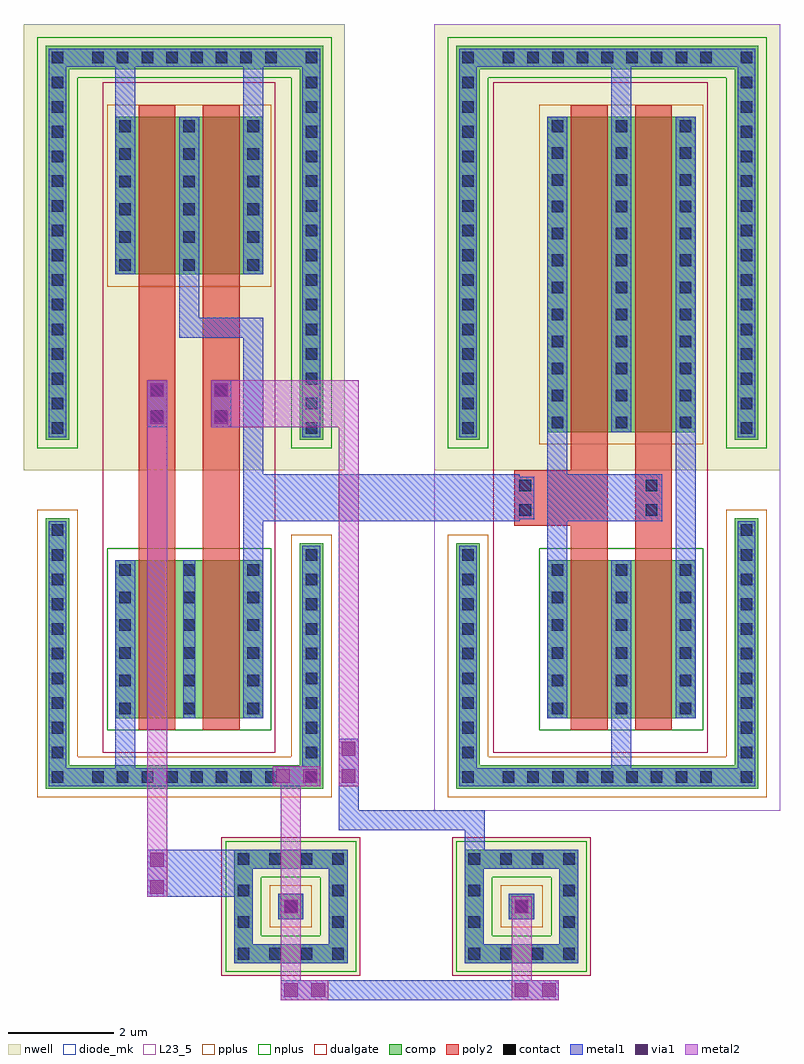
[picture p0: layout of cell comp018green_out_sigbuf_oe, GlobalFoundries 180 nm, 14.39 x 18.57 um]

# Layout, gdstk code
from math import pi, radians
import gdstk
lib = gdstk.Library(unit=1e-6, precision=1e-09)
def R(c, l, rs):  # rectangles x0, y0, x1, y1
    for r in rs: c.add(gdstk.rectangle(r[:2], r[2:], *l))
def A(c, l, x, y, w, h, nx, ny, dx, dy):  # array of equal rectangles
    R(c, l, [(x+i*dx, y+j*dy, x+i*dx+w, y+j*dy+h) for i in range(nx) for j in range(ny)])
def P(c, l, *ps):  # polygons
    for p in ps: c.add(gdstk.Polygon(p, *l))
nwell = (21, 0)
comp = (22, 0)
L23_5 = (23, 5)
poly2 = (30, 0)
pplus = (31, 0)
nplus = (32, 0)
contact = (33, 0)
metal1 = (34, 0)
via1 = (35, 0)
metal2 = (36, 0)
dualgate = (55, 0)
diode_mk = (115, 5)

pmos_6p0_cdns_4066195314 = lib.new_cell('pmos_6p0_CDNS_4066195314513')
R(pmos_6p0_cdns_4066195314, nwell, [(-1.04,-0.6,1.74,6.6)])
R(pmos_6p0_cdns_4066195314, comp, [(-0.44,0,-0.08,6), (-0.44,0,1.14,6), (0.78,0,1.14,6)])
R(pmos_6p0_cdns_4066195314, poly2, [(0,-0.22,0.7,6.22), (0,6,0.7,6.22)])
R(pmos_6p0_cdns_4066195314, pplus, [(-0.6,-0.23,1.3,6.23)])
A(pmos_6p0_cdns_4066195314, contact, -0.37, 0.07, 0.22, 0.22, 1, 7, 0, 0.515)
A(pmos_6p0_cdns_4066195314, contact, 0.85, 0.07, 0.22, 0.22, 1, 7, 0, 0.515)
A(pmos_6p0_cdns_4066195314, contact, -0.37, 3.67, 0.22, 0.22, 1, 5, 0, 0.51)
A(pmos_6p0_cdns_4066195314, contact, 0.85, 3.67, 0.22, 0.22, 1, 5, 0, 0.51)
R(pmos_6p0_cdns_4066195314, metal1, [(-0.375,0,-0.145,6), (-0.375,0,-0.145,6), (0.845,0,1.075,6), (0.845,0,1.075,6)])
R(pmos_6p0_cdns_4066195314, dualgate, [(-0.68,-0.62,1.38,6.62)])

c_pmos_6p0_cdns_4066195314 = lib.new_cell('pmos_6p0_CDNS_4066195314512')
R(c_pmos_6p0_cdns_4066195314, nwell, [(-1.04,-0.6,1.74,3.6)])
R(c_pmos_6p0_cdns_4066195314, comp, [(-0.44,0,-0.08,3), (-0.44,0,1.14,3), (0.78,0,1.14,3)])
R(c_pmos_6p0_cdns_4066195314, poly2, [(0,-0.22,0.7,3.22), (0,3,0.7,3.22)])
R(c_pmos_6p0_cdns_4066195314, pplus, [(-0.6,-0.23,1.3,3.23)])
A(c_pmos_6p0_cdns_4066195314, contact, -0.37, 0.07, 0.22, 0.22, 1, 4, 0, 0.53)
A(c_pmos_6p0_cdns_4066195314, contact, 0.85, 0.07, 0.22, 0.22, 1, 4, 0, 0.53)
R(c_pmos_6p0_cdns_4066195314, contact, [(-0.37,2.185,-0.15,2.405), (0.85,2.185,1.07,2.405), (-0.37,2.71,-0.15,2.93), (0.85,2.71,1.07,2.93)])
R(c_pmos_6p0_cdns_4066195314, metal1, [(-0.375,0,-0.145,3), (-0.375,0,-0.145,3), (0.845,0,1.075,3), (0.845,0,1.075,3)])
R(c_pmos_6p0_cdns_4066195314, dualgate, [(-0.68,-0.62,1.38,3.62)])

nmos_6p0_cdns_4066195314 = lib.new_cell('nmos_6p0_CDNS_4066195314511')
R(nmos_6p0_cdns_4066195314, comp, [(-0.44,0,-0.08,3), (-0.44,0,1.14,3), (0.78,0,1.14,3)])
R(nmos_6p0_cdns_4066195314, poly2, [(0,-0.22,0.7,3.22), (0,3,0.7,3.22)])
R(nmos_6p0_cdns_4066195314, nplus, [(-0.6,-0.23,1.3,3.23)])
A(nmos_6p0_cdns_4066195314, contact, -0.37, 0.07, 0.22, 0.22, 1, 4, 0, 0.53)
A(nmos_6p0_cdns_4066195314, contact, 0.85, 0.07, 0.22, 0.22, 1, 4, 0, 0.53)
R(nmos_6p0_cdns_4066195314, contact, [(-0.37,2.185,-0.15,2.405), (0.85,2.185,1.07,2.405), (-0.37,2.71,-0.15,2.93), (0.85,2.71,1.07,2.93)])
R(nmos_6p0_cdns_4066195314, metal1, [(-0.375,0,-0.145,3), (-0.375,0,-0.145,3), (0.845,0,1.075,3), (0.845,0,1.075,3)])
R(nmos_6p0_cdns_4066195314, dualgate, [(-0.68,-0.62,1.38,3.62)])

m1_nwell_cdns_4066195314 = lib.new_cell('M1_NWELL_CDNS_40661953145225')
R(m1_nwell_cdns_4066195314, nwell, [(-2.52,-0.64,2.52,0.64)])
R(m1_nwell_cdns_4066195314, comp, [(-2.105,-0.225,2.105,0.225)])
R(m1_nwell_cdns_4066195314, nplus, [(-2.265,-0.385,2.265,0.385)])
A(m1_nwell_cdns_4066195314, contact, -1.99, -0.11, 0.22, 0.22, 9, 1, 0.47, 0)
R(m1_nwell_cdns_4066195314, metal1, [(-2.05,-0.17,2.05,0.17)])

c_m1_nwell_cdns_4066195314 = lib.new_cell('M1_NWELL_CDNS_40661953145223')
R(c_m1_nwell_cdns_4066195314, nwell, [(-0.64,-4.165,0.64,4.165)])
R(c_m1_nwell_cdns_4066195314, comp, [(-0.225,-3.75,0.225,3.75)])
R(c_m1_nwell_cdns_4066195314, nplus, [(-0.385,-3.91,0.385,3.91)])
A(c_m1_nwell_cdns_4066195314, contact, -0.11, -3.635, 0.22, 0.22, 1, 16, 0, 0.47)
R(c_m1_nwell_cdns_4066195314, metal1, [(-0.17,-3.695,0.17,3.695)])

pn_6p0_cdns_406619531451 = lib.new_cell('pn_6p0_CDNS_4066195314510')
R(pn_6p0_cdns_406619531451, nwell, [(-1.08,-1.08,1.56,1.56)])
R(pn_6p0_cdns_406619531451, comp, [(-0.84,-0.84,1.32,-0.48), (-0.84,-0.84,-0.48,1.32), (0.96,-0.84,1.32,1.32), (0,0,0.48,0.48), (-0.84,0.96,1.32,1.32)])
R(pn_6p0_cdns_406619531451, pplus, [(-0.16,-0.16,0.64,0.64)])
R(pn_6p0_cdns_406619531451, nplus, [(-1,-1,1.48,-0.32), (-1,-1,-0.32,1.48), (0.8,-1,1.48,1.48), (-1,0.8,1.48,1.48)])
A(pn_6p0_cdns_406619531451, contact, -0.77, -0.77, 0.22, 0.22, 1, 4, 0, 0.6)
A(pn_6p0_cdns_406619531451, contact, -0.77, -0.77, 0.22, 0.22, 4, 2, 0.6, 1.8)
A(pn_6p0_cdns_406619531451, contact, 1.03, -0.77, 0.22, 0.22, 1, 4, 0, 0.6)
R(pn_6p0_cdns_406619531451, contact, [(0.13,0.13,0.35,0.35)])
R(pn_6p0_cdns_406619531451, metal1, [(-0.84,-0.84,1.32,-0.48), (-0.84,-0.84,-0.48,1.32), (0.96,-0.84,1.32,1.32), (0,0,0.48,0.48), (-0.84,0.96,1.32,1.32)])
R(pn_6p0_cdns_406619531451, dualgate, [(-1.08,-1.08,1.56,1.56)])
R(pn_6p0_cdns_406619531451, diode_mk, [(0,0,0.48,0.48)])

c_m1_nwell_cdns_4066195314_ = lib.new_cell('M1_NWELL_CDNS_40661953145218')
R(c_m1_nwell_cdns_4066195314_, nwell, [(-2.285,-0.64,2.285,0.64)])
R(c_m1_nwell_cdns_4066195314_, comp, [(-1.87,-0.225,1.87,0.225)])
R(c_m1_nwell_cdns_4066195314_, nplus, [(-2.03,-0.385,2.03,0.385)])
A(c_m1_nwell_cdns_4066195314_, contact, -1.755, -0.11, 0.22, 0.22, 8, 1, 0.47, 0)
R(c_m1_nwell_cdns_4066195314_, metal1, [(-1.815,-0.17,1.815,0.17)])

m2_m1_cdns_6903358316552 = lib.new_cell('M2_M1_CDNS_69033583165523')
R(m2_m1_cdns_6903358316552, metal1, [(-0.45,-0.19,0.45,0.19)])
R(m2_m1_cdns_6903358316552, via1, [(-0.39,-0.13,-0.13,0.13), (0.13,-0.13,0.39,0.13)])
R(m2_m1_cdns_6903358316552, metal2, [(-0.45,-0.19,0.45,0.19)])

m1_psub_cdns_69033583165 = lib.new_cell('M1_PSUB_CDNS_69033583165609')
R(m1_psub_cdns_69033583165, comp, [(-0.225,-2.575,0.225,2.575)])
R(m1_psub_cdns_69033583165, pplus, [(-0.385,-2.735,0.385,2.735)])
A(m1_psub_cdns_69033583165, contact, -0.11, -2.46, 0.22, 0.22, 1, 11, 0, 0.47)
R(m1_psub_cdns_69033583165, metal1, [(-0.17,-2.52,0.17,2.52)])

m1_poly2_cdns_6903358316 = lib.new_cell('M1_POLY2_CDNS_69033583165610')
R(m1_poly2_cdns_6903358316, poly2, [(-0.21,-0.445,0.21,0.445)])
R(m1_poly2_cdns_6903358316, contact, [(-0.11,-0.345,0.11,-0.125), (-0.11,0.125,0.11,0.345)])
R(m1_poly2_cdns_6903358316, metal1, [(-0.17,-0.405,0.17,0.405)])

m2_m1_cdns_6903358316557 = lib.new_cell('M2_M1_CDNS_69033583165570')
R(m2_m1_cdns_6903358316557, metal1, [(-0.19,-0.45,0.19,0.45)])
R(m2_m1_cdns_6903358316557, via1, [(-0.13,-0.39,0.13,-0.13), (-0.13,0.13,0.13,0.39)])
R(m2_m1_cdns_6903358316557, metal2, [(-0.19,-0.45,0.19,0.45)])

c_m1_psub_cdns_69033583165 = lib.new_cell('M1_PSUB_CDNS_69033583165611')
R(c_m1_psub_cdns_69033583165, comp, [(-0.225,-2.34,0.225,2.34)])
R(c_m1_psub_cdns_69033583165, pplus, [(-0.385,-2.5,0.385,2.5)])
A(c_m1_psub_cdns_69033583165, contact, -0.11, -2.225, 0.22, 0.22, 1, 10, 0, 0.47)
R(c_m1_psub_cdns_69033583165, metal1, [(-0.17,-2.285,0.17,2.285)])

c_m1_psub_cdns_69033583165_ = lib.new_cell('M1_PSUB_CDNS_69033583165612')
R(c_m1_psub_cdns_69033583165_, comp, [(-2.105,-0.225,2.105,0.225)])
R(c_m1_psub_cdns_69033583165_, pplus, [(-2.265,-0.385,2.265,0.385)])
A(c_m1_psub_cdns_69033583165_, contact, -1.99, -0.11, 0.22, 0.22, 9, 1, 0.47, 0)
R(c_m1_psub_cdns_69033583165_, metal1, [(-2.05,-0.17,2.05,0.17)])

m2_m1_cdns_6903358316579 = lib.new_cell('M2_M1_CDNS_6903358316579')
R(m2_m1_cdns_6903358316579, metal1, [(-0.19,-0.19,0.19,0.19)])
R(m2_m1_cdns_6903358316579, via1, [(-0.13,-0.13,0.13,0.13)])
R(m2_m1_cdns_6903358316579, metal2, [(-0.19,-0.19,0.19,0.19)])

c_m1_psub_cdns_69033583165__ = lib.new_cell('M1_PSUB_CDNS_69033583165613')
R(c_m1_psub_cdns_69033583165__, comp, [(-1.87,-0.225,1.87,0.225)])
R(c_m1_psub_cdns_69033583165__, pplus, [(-2.03,-0.385,2.03,0.385)])
A(c_m1_psub_cdns_69033583165__, contact, -1.755, -0.11, 0.22, 0.22, 8, 1, 0.47, 0)
R(c_m1_psub_cdns_69033583165__, metal1, [(-1.815,-0.17,1.815,0.17)])

comp018green_out_sigbuf_ = lib.new_cell('comp018green_out_sigbuf_oe')
R(comp018green_out_sigbuf_, nwell, [(-0.415,6.065,5.695,14.555), (7.395,6.065,13.975,14.555)])
R(comp018green_out_sigbuf_, comp, [(0.45,0,0.77,0.45), (4.51,0,4.83,0.45), (8.26,0,8.58,0.45), (12.79,0,13.11,0.45), (0.45,13.69,0.77,14.14), (4.51,13.69,4.83,14.14), (8.26,13.69,8.58,14.14), (12.79,13.69,13.11,14.14)])
R(comp018green_out_sigbuf_, L23_5, [(7.395,-0.415,13.975,14.555)])
R(comp018green_out_sigbuf_, poly2, [(1.77,4.57,2.47,9.57), (2.99,4.57,3.69,9.57), (11.215,4.57,11.915,6.57)])
P(comp018green_out_sigbuf_, poly2, [(9.995,4.57),(9.995,5.01),(8.915,5.01),(8.915,6.065),(9.995,6.065),(9.995,6.57),(10.695,6.57),(10.695,4.57)])
R(comp018green_out_sigbuf_, metal1, [(1.93,-2.055,3.945,-1.155), (0.395,0.055,0.825,0.395), (4.455,0.055,4.885,0.395), (8.205,0.055,8.635,0.395), (12.735,0.055,13.165,0.395), (3.76,5.095,9.02,5.985), (9.545,5.095,11.735,5.985), (0.395,13.745,0.825,14.085), (4.455,13.745,4.885,14.085), (8.205,13.745,8.635,14.085), (12.735,13.745,13.165,14.085)])
R(comp018green_out_sigbuf_, metal2, [(3.15,6.88,5.955,7.78)])
R(comp018green_out_sigbuf_, dualgate, [(1.09,0.69,4.37,13.45), (8.515,0.69,12.595,13.45)])
comp018green_out_sigbuf_.add(gdstk.FlexPath([(9.735,1.35),(9.735,12.79)], 0.38, ends="flush", simple_path=True, layer=34, datatype=0))  # metal1
comp018green_out_sigbuf_.add(gdstk.FlexPath([(12.175,1.35),(12.175,12.79)], 0.38, ends="flush", simple_path=True, layer=34, datatype=0))  # metal1
comp018green_out_sigbuf_.add(gdstk.FlexPath([(10.955,4.35),(10.955,0.195)], 0.38, ends="flush", simple_path=True, layer=34, datatype=0))  # metal1
comp018green_out_sigbuf_.add(gdstk.FlexPath([(10.955,6.79),(10.955,13.935)], 0.38, ends="flush", simple_path=True, layer=34, datatype=0))  # metal1
comp018green_out_sigbuf_.add(gdstk.FlexPath([(1.51,0.055),(1.51,4.35)], 0.38, ends="flush", simple_path=True, layer=34, datatype=0))  # metal1
comp018green_out_sigbuf_.add(gdstk.FlexPath([(3.95,9.79),(3.95,13.935)], 0.38, ends="flush", simple_path=True, layer=34, datatype=0))  # metal1
comp018green_out_sigbuf_.add(gdstk.FlexPath([(1.51,9.79),(1.51,13.935)], 0.38, ends="flush", simple_path=True, layer=34, datatype=0))  # metal1
comp018green_out_sigbuf_.add(gdstk.FlexPath([(9.765,-3.825),(4.475,-3.825)], 0.38, ends="flush", simple_path=True, layer=34, datatype=0))  # metal1
comp018green_out_sigbuf_.add(gdstk.FlexPath([(8.165,-1.41),(8.165,-0.595),(5.765,-0.595),(5.765,0.53)], 0.38, ends="flush", simple_path=True, layer=34, datatype=0))  # metal1
comp018green_out_sigbuf_.add(gdstk.FlexPath([(2.73,12.79),(2.73,8.78),(3.95,8.78),(3.95,1.35)], 0.38, ends="flush", simple_path=True, layer=34, datatype=0))  # metal1
comp018green_out_sigbuf_.add(gdstk.FlexPath([(5.765,7.78),(5.765,0.055)], 0.38, ends="flush", simple_path=True, layer=36, datatype=0))  # metal2
comp018green_out_sigbuf_.add(gdstk.FlexPath([(2.12,7.78),(2.12,-2.055)], 0.38, ends="flush", simple_path=True, layer=36, datatype=0))  # metal2
comp018green_out_sigbuf_.add(gdstk.FlexPath([(9.055,-2.045),(9.055,-4.015)], 0.38, ends="flush", simple_path=True, layer=36, datatype=0))  # metal2
comp018green_out_sigbuf_.add(gdstk.FlexPath([(4.665,-4.015),(4.665,0.385)], 0.38, ends="flush", simple_path=True, layer=36, datatype=0))  # metal2
comp018green_out_sigbuf_.add(gdstk.Reference(pmos_6p0_cdns_4066195314, (11.915,6.79), rotation=pi, x_reflection=True))
comp018green_out_sigbuf_.add(gdstk.Reference(pmos_6p0_cdns_4066195314, (10.695,6.79), rotation=pi, x_reflection=True))
comp018green_out_sigbuf_.add(gdstk.Reference(c_pmos_6p0_cdns_4066195314, (1.77,9.79)))
comp018green_out_sigbuf_.add(gdstk.Reference(c_pmos_6p0_cdns_4066195314, (2.99,9.79)))
comp018green_out_sigbuf_.add(gdstk.Reference(nmos_6p0_cdns_4066195314, (2.47,1.35), rotation=pi, x_reflection=True))
comp018green_out_sigbuf_.add(gdstk.Reference(nmos_6p0_cdns_4066195314, (3.69,1.35), rotation=pi, x_reflection=True))
comp018green_out_sigbuf_.add(gdstk.Reference(nmos_6p0_cdns_4066195314, (11.215,1.35)))
comp018green_out_sigbuf_.add(gdstk.Reference(nmos_6p0_cdns_4066195314, (9.995,1.35)))
comp018green_out_sigbuf_.add(gdstk.Reference(m1_nwell_cdns_4066195314, (10.685,13.915)))
comp018green_out_sigbuf_.add(gdstk.Reference(c_m1_nwell_cdns_4066195314, (0.225,10.39)))
comp018green_out_sigbuf_.add(gdstk.Reference(c_m1_nwell_cdns_4066195314, (13.335,10.39)))
comp018green_out_sigbuf_.add(gdstk.Reference(c_m1_nwell_cdns_4066195314, (8.035,10.39)))
comp018green_out_sigbuf_.add(gdstk.Reference(c_m1_nwell_cdns_4066195314, (5.055,10.39)))
comp018green_out_sigbuf_.add(gdstk.Reference(pn_6p0_cdns_406619531451, (4.905,-1.995), rotation=pi))
comp018green_out_sigbuf_.add(gdstk.Reference(pn_6p0_cdns_406619531451, (9.295,-1.995), rotation=pi))
comp018green_out_sigbuf_.add(gdstk.Reference(c_m1_nwell_cdns_4066195314_, (2.64,13.915)))
comp018green_out_sigbuf_.add(gdstk.Reference(m2_m1_cdns_6903358316552, (5.765,0.505), rotation=pi/2))
comp018green_out_sigbuf_.add(gdstk.Reference(m2_m1_cdns_6903358316552, (4.925,-3.825)))
comp018green_out_sigbuf_.add(gdstk.Reference(m2_m1_cdns_6903358316552, (4.775,0.245)))
comp018green_out_sigbuf_.add(gdstk.Reference(m2_m1_cdns_6903358316552, (9.315,-3.825)))
comp018green_out_sigbuf_.add(gdstk.Reference(m1_psub_cdns_69033583165, (13.335,2.575), x_reflection=True))
comp018green_out_sigbuf_.add(gdstk.Reference(m1_psub_cdns_69033583165, (0.225,2.575), x_reflection=True))
comp018green_out_sigbuf_.add(gdstk.Reference(m1_poly2_cdns_6903358316, (2.12,7.335), rotation=pi, x_reflection=True))
comp018green_out_sigbuf_.add(gdstk.Reference(m1_poly2_cdns_6903358316, (3.34,7.335), rotation=pi, x_reflection=True))
comp018green_out_sigbuf_.add(gdstk.Reference(m1_poly2_cdns_6903358316, (11.525,5.54)))
comp018green_out_sigbuf_.add(gdstk.Reference(m1_poly2_cdns_6903358316, (9.125,5.54)))
comp018green_out_sigbuf_.add(gdstk.Reference(m2_m1_cdns_6903358316557, (2.12,-1.605)))
comp018green_out_sigbuf_.add(gdstk.Reference(m2_m1_cdns_6903358316557, (3.34,7.33)))
comp018green_out_sigbuf_.add(gdstk.Reference(m2_m1_cdns_6903358316557, (2.12,7.33)))
comp018green_out_sigbuf_.add(gdstk.Reference(c_m1_psub_cdns_69033583165, (8.035,2.34), x_reflection=True))
comp018green_out_sigbuf_.add(gdstk.Reference(c_m1_psub_cdns_69033583165, (5.055,2.34), x_reflection=True))
comp018green_out_sigbuf_.add(gdstk.Reference(c_m1_psub_cdns_69033583165_, (10.685,0.225), x_reflection=True))
comp018green_out_sigbuf_.add(gdstk.Reference(m2_m1_cdns_6903358316579, (9.055,-2.235)))
comp018green_out_sigbuf_.add(gdstk.Reference(m2_m1_cdns_6903358316579, (4.665,-2.235)))
comp018green_out_sigbuf_.add(gdstk.Reference(c_m1_psub_cdns_69033583165__, (2.64,0.225), x_reflection=True))

lib.write_gds('comp018green_out_sigbuf_oe.gds')
